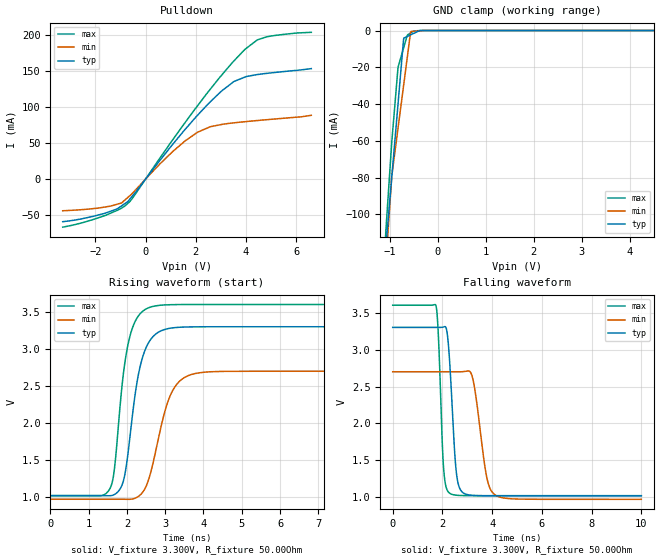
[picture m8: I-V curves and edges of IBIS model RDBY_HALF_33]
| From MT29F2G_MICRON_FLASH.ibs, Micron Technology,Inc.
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|   MODEL RDBY_HALF_33
[Model]   RDBY_HALF_33
Model_type   Open_drain
Vmeas =  1.6500V
Rref = 1000
Cref = 50pF
Vref = 3.3V
|   typ   min   max
C_comp   2.89pF   2.55pF   3.27pF
[Model Spec]
| Measurement voltage corners
Vmeas   1.650V   1.3500V   1.800V
| Timing spec test load voltage corners
Vref   3.300V   2.700V   3.600V
[Voltage Range]   3.300V   2.700V   3.600V
| Junction Temperature (Ambient temp is 25C typ, 70C min, 0C max)
[Temperature Range]   40   85   0
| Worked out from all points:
|   slope of the pulldown table from 0 to 0.495 V, typ, clamps not added: 22 ohm
|   GND clamp passes 1 mA (typ) near -0.46 V on its own axis
|   falling waveform, V_fixture 3.300V, R_fixture 50.00Ohm: 20-80 % time 232ps typ, 406ps min, 170ps max; typ from 3.3 V to 1.02 V
|   rising waveform, V_fixture 3.300V, R_fixture 50.00Ohm: 20-80 % time 386ps typ, 505ps min, 333ps max; typ from 1.02 V to 3.3 V
[Pulldown]
|   Voltage   I(typ)   I(min)   I(max)
-3.3V     -59.02mA   -43.89mA   -66.59mA
-1.41V    -44.78mA   -37.57mA   -47.51mA
-960mV    -37.25mA   -33.14mA   -40.3mA
-640mV    -28.32mA   -23.48mA   -31.69mA
1.07V     47.62mA    37.77mA    53.82mA
2.07V     88.36mA    64.8mA     101.5mA
3.02V     121.7mA    75.52mA    143.5mA
3.52V     135.1mA    77.83mA    163.6mA
3.95V     141.1mA    79.4mA     179.4mA
4.45V     144.7mA    81.03mA    192.7mA
4.81V     146.3mA    82.14mA    196.8mA
6.6V      152.9mA    88.27mA    203.1mA
[GND Clamp]
|   Voltage   I(typ)   I(min)   I(max)
-3.3V     -1.139A    -1.091A    -1.18A
-1.08V    -116.3mA   -125.4mA   -107.5mA
-970mV    -82.68mA   -82.98mA   -64.26mA
-960mV    -79.63mA   -79.13mA   -60.38mA
-830mV    -39.94mA   -53.08mA   -19.98mA
-720mV    -6.358mA   -31.12mA   -10.04mA
-710mV    -4.093mA   -29.13mA   -9.134mA
-640mV    -3.237mA   -15.15mA   -2.806mA
-570mV    -2.381mA   -1.182mA   -1.392mA
-560mV    -2.258mA   -528.9uA   -1.234mA
-370mV    -1.731uA   -149uA     -10.33uA
6.6V      0A         0A         0A
[POWER Clamp]
|No Power Clamp Diode
|   Voltage   I(typ)   I(min)   I(max)
-3.3V     0A         0A         0A
0V        0A         0A         0A
6.6V      0A         0A         0A
[Ramp]
R_load = 50.00Ohm
|   typ   min   max
dV/dt_r   1.367V/385.637ps   1.036V/504.766ps   1.546V/332.387ps
dV/dt_f   1.367V/231.957ps   1.036V/405.597ps   1.546V/170.103ps
[Falling Waveform]
V_fixture = 3.300V
V_fixture_min = 2.700V
V_fixture_max = 3.600V
R_fixture = 50.00Ohm
|   Time   V(typ)   V(min)   V(max)
0s        3.3V       2.7V       3.6V
1.74ns    3.3V       2.7V       3.594V
2.05ns    3.307V     2.7V       1.383V
2.3ns     2.783V     2.7V       1.054V
2.55ns    1.37V      2.7V       1.03V
2.84ns    1.06V      2.702V     1.025V
3.22ns    1.028V     2.607V     1.023V
3.75ns    1.022V     1.33V      1.023V
4.08ns    1.022V     1.043V     1.023V
10ns      1.021V     973.7mV    1.023V
[Rising Waveform]
V_fixture = 3.300V
V_fixture_min = 2.700V
V_fixture_max = 3.600V
R_fixture = 50.00Ohm
|   Time   V(typ)   V(min)   V(max)
0s        1.021V     973.7mV    1.023V
1.56ns    1.021V     973.7mV    1.12V
1.67ns    1.036V     973.7mV    1.362V
1.86ns    1.149V     973.8mV    2.437V
2.02ns    1.555V     972.7mV    3.037V
2.27ns    2.568V     1.002V     3.423V
2.51ns    3.028V     1.158V     3.543V
3.09ns    3.276V     2.318V     3.596V
3.65ns    3.298V     2.65V      3.6V
10ns      3.3V       2.7V       3.6V
